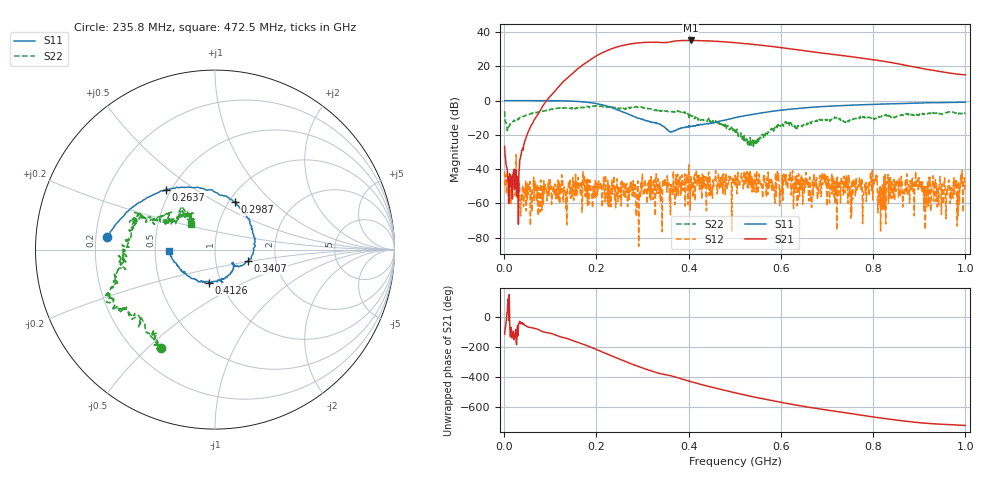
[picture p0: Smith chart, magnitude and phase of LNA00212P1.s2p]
! Created with skrf 1.9.0 (http://scikit-rf.org).
# Hz S RI R 50.0
!freq ReS11 ImS11 ReS21 ImS21 ReS12 ImS12 ReS22 ImS22
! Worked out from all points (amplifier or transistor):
!   1001 points, 1 MHz to 1 GHz, reference 50 ohm
!   highest |S21| = 35.1 dB at 404.6 MHz (marker M1)
!   |S21| within 3 dB of that: 255.9 MHz to 563.3 MHz (307.4 MHz wide, 75.1 % of centre)
!   unconditionally stable (mu >= 1): start of sweep to 97.85 MHz; 224.8 MHz to 400.3 MHz; 400.8 MHz to end of sweep (the widest 3 of 31)
!   at 166.8 MHz: K = 1.65, MAG = 29.7 dB, |S12| = -48.9 dB
!   at 500.5 MHz: K = 1.50, MAG = 34.5 dB, |S12| = -43.6 dB
!   at 1 GHz: K = 5.57, MAG = 22.7 dB, |S12| = -51.3 dB
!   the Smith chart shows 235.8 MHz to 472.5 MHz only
!   S11 on the Smith chart (normalised r, x): 235.8 MHz: 0.25, +0.06; 263.7 MHz: 0.47, +0.39; 298.7 MHz: 1.06, +0.62; 340.7 MHz: 1.43, -0.19; 412.6 MHz: 0.88, -0.33; 472.5 MHz: 0.59, -0.01
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1000000  0.9825 -0.00476  -0.0206 -0.0412  -0.00376 -0.00767  0.38 0.3142
1.07893e8  0.5182 -0.8473  -0.826 -1.545  0.00312 0.000823  0.4252 -0.3808
1.67833e8  -0.2553 -0.8898  -10.33 -0.2473  -0.00378 0.00263  0.0402 -0.6433
2.06794e8  -0.6663 -0.4102  -15.88 16.14  -0.00279 -0.000264  -0.164 -0.6623
2.35765e8  -0.6 0.073  -3.785 33.37  -0.00343 -0.00175  -0.3011 -0.5502
2.63737e8  -0.2739 0.3342  19.85 37.12  0.000662 0.00277  -0.4624 -0.3889
2.98702e8  0.1102 0.2652  45.22 18.35  -0.00262 0.0025  -0.5997 -0.253
3.17683e8  0.2025 0.1154  50.19 1.871  -0.000113 -0.00125  -0.5512 -0.1544
3.34666e8  0.2077 -0.0302  48.5 -11.99  0.00168 0.00173  -0.5133 -0.0557
3.4066e8  0.1833 -0.0644  46.85 -15.77  -0.00243 0.000924  -0.4956 -0.00118
3.72628e8  0.1071 -0.0894  41.6 -35.66  -0.00595 0.0033  -0.4544 0.1375
4.04596e8  0.0136 -0.18  19.31 -53.17  -0.000714 0.00654  -0.3192 0.1662
4.12588e8  -0.0336 -0.184  13.14 -54.6  0.00485 0.00502  -0.2613 0.1385
4.4056e8  -0.1593 -0.1402  -8.924 -54.29  0.00278 0.0032  -0.1724 0.1881
4.72528e8  -0.2578 -0.00532  -28.21 -43.38  0.00268 -0.000515  -0.131 0.1439
5.005e8  -0.282 0.1495  -39.45 -29.02  0.00604 0.00271  -0.0887 0.0818
5.39461e8  -0.1959 0.3443  -42.74 -7.634  0.00247 -0.00127  -0.0584 -0.0117
5.85415e8  0.00547 0.4942  -35.2 11.66  0.00176 -0.00211  -0.1456 -0.0553
6.67333e8  0.4005 0.4929  -12.28 23.36  -0.000811 -0.00031  -0.2409 -0.00964
7.55245e8  0.6815 0.2767  4.018 18.3  -0.0011 -0.000613  -0.2729 0.0704
8.34166e8  0.7991 0.0199  9.669 8.983  -0.00502 -0.00238  -0.3463 0.0424
1e9  0.7287 -0.5237  5.623 0.0845  -0.00142 -0.00232  -0.2426 0.3425
